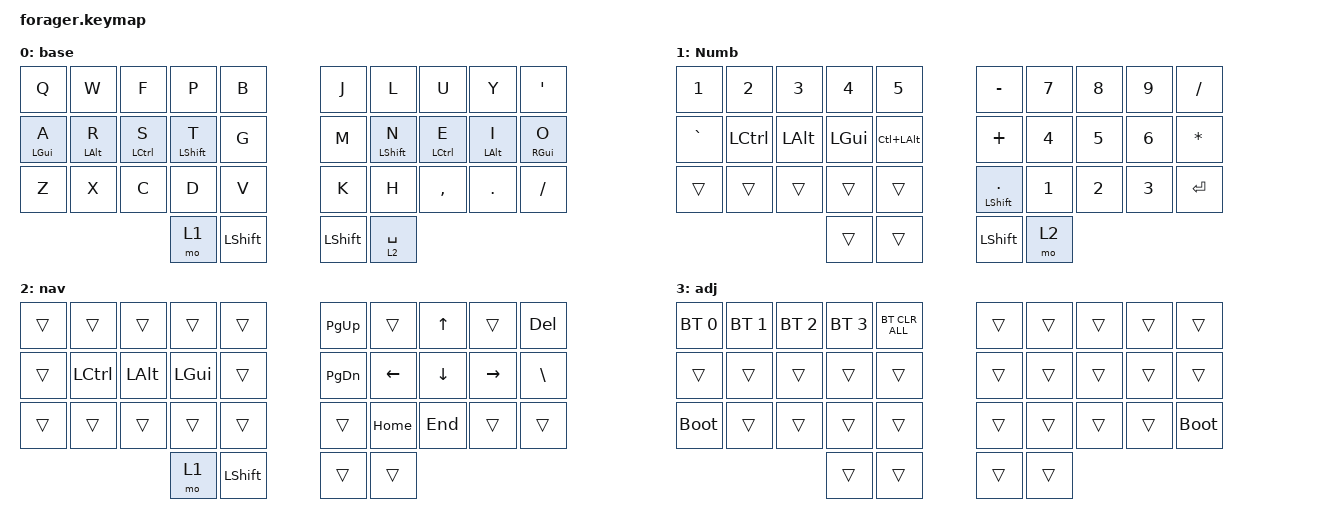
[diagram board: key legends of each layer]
#include <behaviors.dtsi>
#include <dt-bindings/zmk/bt.h>
#include <dt-bindings/zmk/keys.h>

/ {
    combos {
        compatible = "zmk,combos";

        EscApE {
            bindings = <&kp ESCAPE>;
            key-positions = <4 3>;
        };

        BaCKSPaCe {
            bindings = <&kp BACKSPACE>;
            key-positions = <5 6>;
        };

        DeLeTe {
            bindings = <&kp DELETE>;
            key-positions = <6 7>;
        };

        TaB {
            bindings = <&none>;
            key-positions = <13 14>;
        };

        ReTuRN {
            bindings = <&kp RETURN>;
            key-positions = <15 16>;
        };
    };

    behaviors {
        home_row: hr {
            compatible = "zmk,behavior-hold-tap";
            label = "hr";
            bindings = <&kp>, <&kp>;

            #binding-cells = <2>;
            tapping-term-ms = <160>;
            flavor = "tap-preferred";
        };
    };

    keymap {
        compatible = "zmk,keymap";

        base {
            bindings = <
&kp Q  &kp W           &kp F        &kp P        &kp B      &kp J  &kp L       &kp U        &kp Y        &kp SQT
&mt LGUI A  &mt LALT R  &mt LCTRL S  &mt LSHFT T  &kp G      &kp M  &mt LSHFT N  &mt LCTRL E   &mt LALT I  &mt RGUI O
&kp Z  &kp X           &kp C        &kp D        &kp V      &kp K  &kp H       &kp COMMA    &kp DOT      &kp FSLH
                                    &mo 1        &kp LSHFT         &kp LSHFT   &lt 2 SPACE
            >;
        };

        Numb {
            bindings = <
&kp N1     &kp N2     &kp N3    &kp N4    &kp N5        &kp MINUS    &kp N7        &kp N8        &kp N9        &kp FSLH
&kp GRAVE  &kp LCTRL  &kp LALT  &kp LGUI  &kp LC(LALT)  &kp PLUS  &kp NUMBER_4  &kp N5        &kp NUMBER_6  &kp STAR
&trans     &trans     &trans    &trans    &trans        &mt LSHFT DOT    &kp NUMBER_1  &kp NUMBER_2  &kp NUMBER_3  &kp ENTER
                                &trans    &trans                  &kp LSHFT     &mo 2
            >;
        };

        nav {
            bindings = <
&trans  &trans     &trans    &trans    &trans     &kp PAGE_UP    &trans    &kp UP    &trans     &kp DEL
&trans  &kp LCTRL  &kp LALT  &kp LGUI  &trans     &kp PAGE_DOWN  &kp LEFT  &kp DOWN  &kp RIGHT  &kp BSLH
&trans  &trans     &trans    &trans    &trans     &trans         &kp HOME  &kp END   &trans     &trans
                             &mo 1     &kp LSHFT                 &trans    &trans
            >;
        };

        adj {
            bindings = <
&bt BT_SEL 0  &bt BT_SEL 1  &bt BT_SEL 2  &bt BT_SEL 3  &bt BT_CLR_ALL  &trans  &trans  &trans  &trans  &trans
&trans        &trans        &trans        &trans        &trans          &trans  &trans  &trans  &trans  &trans
&bootloader   &trans        &trans        &trans        &trans          &trans  &trans  &trans  &trans  &bootloader
                                          &trans        &trans                  &trans  &trans
            >;
        };
    };
};

&lt {
    tapping-term-ms = <150>;
    quick-tap-ms = <200>;
};

&mt { quick-tap-ms = <200>; };

&sk {
    release-after-ms = <500>;
    quick-release;
};
